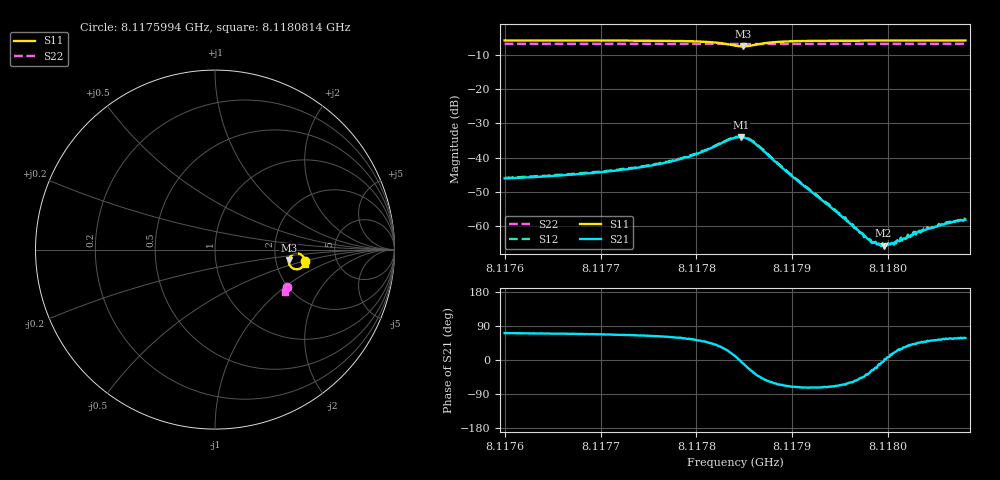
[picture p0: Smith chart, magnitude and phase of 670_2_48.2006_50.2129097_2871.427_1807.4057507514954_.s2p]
#  HZ  S  RI  R  50.00
! Rohde & Schwarz Vector Network Analyzer
! Rohde-Schwarz,ZNB20-2Port,1311601062101988,3.16
! Created: UTC 3/20/2024, 12:06:06 PM
! freq[Hz]  re:S11  im:S11  re:S21  im:S21  re:S12  im:S12  re:S22  im:S22
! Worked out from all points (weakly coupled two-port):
!   401 points, 8.1175994 GHz to 8.1180814 GHz, reference 50 ohm
!   highest |S21| = -33.95 dB at 8.1178464 GHz (marker M1); lowest = -65.6 dB at 8.1179959 GHz (marker M2)
!   lowest |S11| = -7.6 dB at 8.1178488 GHz (marker M3), VSWR 2.42, Z = 118 - j16.9 ohm
!   |S11| at or under -10 dB: nowhere
!   |S22| runs from -6.9 to -6.9 dB; largest |S21 - S12| = 0.00071
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8.11759936e9  0.5028 -0.0634  0.00162 0.00472  0.00173 0.00482  0.4023 -0.2078
8.11768011e9  0.5004 -0.0731  0.00213 0.00542  0.00217 0.00558  0.3998 -0.213
8.11772711e9  0.4975 -0.0808  0.00274 0.00619  0.00287 0.00637  0.3983 -0.2162
8.11776086e9  0.4934 -0.0886  0.00375 0.00718  0.00385 0.00732  0.3969 -0.2185
8.1177934e9  0.4839 -0.0996  0.00594 0.0087  0.00622 0.00885  0.3953 -0.2207
8.11782594e9  0.449 -0.1093  0.0134 0.00907  0.0135 0.00927  0.3929 -0.2226
8.1178404e9  0.4176 -0.089  0.0192 0.00356  0.0196 0.00364  0.3912 -0.2222
8.11784643e9  0.4108 -0.0685  0.02 -0.00122  0.0204 -0.00095  0.3909 -0.2217
8.11784884e9  0.4113 -0.0592  0.0194 -0.00313  0.02 -0.00294  0.3911 -0.2213
8.11786089e9  0.4358 -0.0254  0.0132 -0.00936  0.0137 -0.00965  0.3921 -0.2209
8.11788499e9  0.4821 -0.0298  0.00347 -0.00733  0.00375 -0.00754  0.3936 -0.2231
8.11792115e9  0.4975 -0.0507  0.00093 -0.00298  0.000971 -0.0031  0.3925 -0.2263
8.11794043e9  0.4995 -0.0576  0.000654 -0.00181  0.000677 -0.00188  0.392 -0.2279
8.11798261e9  0.5007 -0.0675  0.000518 -0.000293  0.000501 -0.000381  0.3908 -0.2308
8.11799105e9  0.5007 -0.0689  0.000534 -9.91e-05  0.000539 -0.000169  0.3905 -0.2314
8.11799587e9  0.5008 -0.0699  0.000524 -3.15e-05  0.000555 -2.87e-05  0.3903 -0.2316
8.1180019e9  0.5007 -0.0708  0.000548 8e-05  0.000537 9.64e-05  0.3899 -0.2321
8.11800672e9  0.5008 -0.0715  0.000513 0.000173  0.00055 0.000148  0.3898 -0.2324
8.11802841e9  0.5005 -0.0749  0.000592 0.000548  0.000606 0.00056  0.3892 -0.2337
8.11804046e9  0.5004 -0.0765  0.000606 0.000673  0.000611 0.00067  0.3887 -0.2346
8.11806336e9  0.5003 -0.0792  0.000629 0.000921  0.00063 0.000955  0.3879 -0.2359
8.11808144e9  0.5001 -0.0813  0.000661 0.00106  0.000635 0.00111  0.3873 -0.2371
